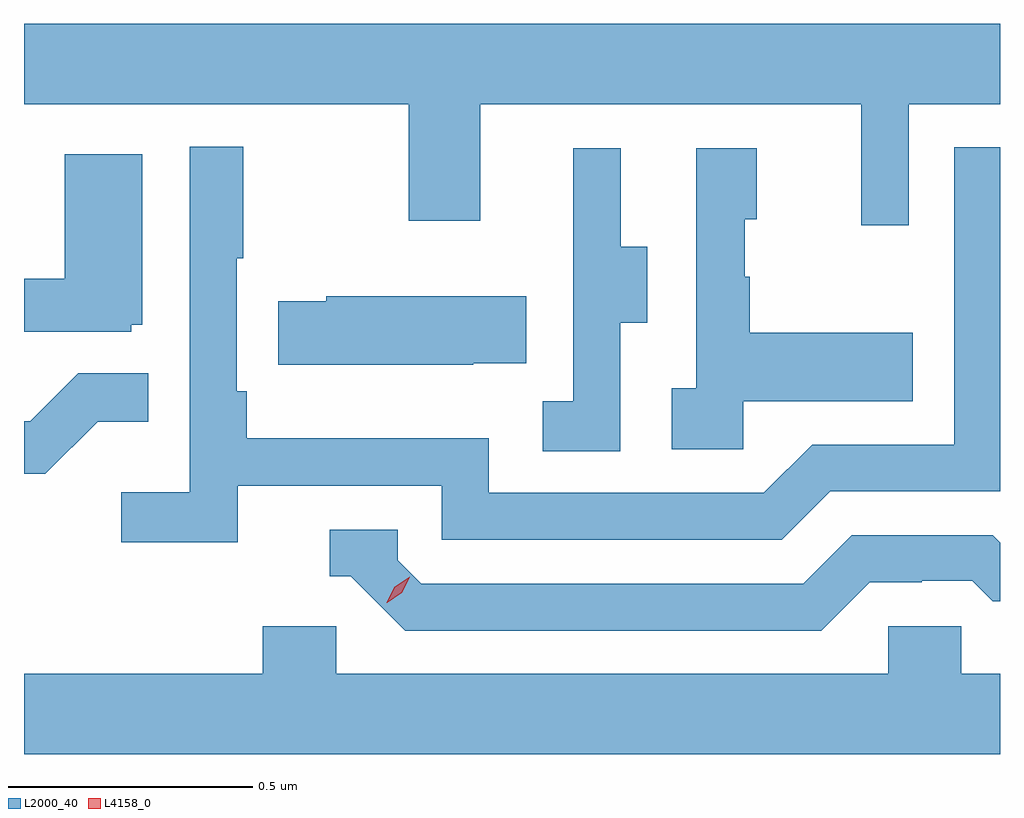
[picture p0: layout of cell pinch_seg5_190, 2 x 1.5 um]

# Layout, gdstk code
import gdstk
lib = gdstk.Library(unit=1e-6, precision=1e-09)
def P(c, l, *ps):  # polygons
    for p in ps: c.add(gdstk.Polygon(p, *l))
L2000_40 = (2000, 40)
L4158_0 = (4158, 0)

pinch_seg5_190 = lib.new_cell('pinch_seg5_190')
P(pinch_seg5_190, L2000_40, [(1117.677,888.728),(1117.864,888.728),(1117.864,888.892),(1115.864,888.892),(1115.864,888.728),(1116.652,888.728),(1116.652,888.489),(1116.799,888.489),(1116.799,888.728),(1117.58,888.728),(1117.58,888.48),(1117.677,888.48)],
  [(1116.302,887.946),(1116.72,887.946),(1116.72,887.835),(1117.417,887.835),(1117.516,887.934),(1117.864,887.934),(1117.864,888.639),(1117.77,888.639),(1117.77,888.03),(1117.479,888.03),(1117.38,887.931),(1116.816,887.931),(1116.816,888.043),(1116.32,888.043),(1116.32,888.139),(1116.3,888.139),(1116.3,888.412),(1116.313,888.412),(1116.313,888.64),(1116.204,888.64),(1116.204,887.932),(1116.063,887.932),(1116.063,887.83),(1116.302,887.83)],
  [(1117.086,888.28),(1117.141,888.28),(1117.141,888.435),(1117.087,888.435),(1117.087,888.637),(1116.989,888.637),(1116.989,888.423),(1116.99,888.423),(1116.99,888.119),(1116.927,888.119),(1116.927,888.016),(1117.086,888.016)],
  [(1117.338,888.119),(1117.685,888.119),(1117.685,888.259),(1117.351,888.259),(1117.351,888.374),(1117.341,888.374),(1117.341,888.492),(1117.366,888.492),(1117.366,888.637),(1117.242,888.637),(1117.242,888.146),(1117.191,888.146),(1117.191,888.021),(1117.338,888.021)],
  [(1116.084,888.276),(1116.106,888.276),(1116.106,888.625),(1115.948,888.625),(1115.948,888.37),(1115.864,888.37),(1115.864,888.261),(1116.084,888.261)],
  [(1116.785,888.197),(1116.893,888.197),(1116.893,888.334),(1116.483,888.334),(1116.483,888.324),(1116.385,888.324),(1116.385,888.194),(1116.785,888.194)],
  [(1116.015,888.077),(1116.119,888.077),(1116.119,888.176),(1115.975,888.176),(1115.877,888.078),(1115.864,888.078),(1115.864,887.97),(1115.908,887.97)],
  [(1117.597,887.748),(1117.704,887.748),(1117.704,887.751),(1117.807,887.751),(1117.849,887.709),(1117.864,887.709),(1117.864,887.829),(1117.849,887.844),(1117.56,887.844),(1117.461,887.745),(1116.678,887.745),(1116.63,887.793),(1116.63,887.856),(1116.491,887.856),(1116.491,887.76),(1116.534,887.76),(1116.645,887.649),(1117.498,887.649)],
  [(1117.864,887.56),(1117.785,887.56),(1117.785,887.658),(1117.635,887.658),(1117.635,887.56),(1116.504,887.56),(1116.504,887.658),(1116.353,887.658),(1116.353,887.56),(1115.864,887.56),(1115.864,887.396),(1117.864,887.396)])
P(pinch_seg5_190, L4158_0, [(1116.607,887.706),(1116.607,887.707),(1116.624,887.739),(1116.654,887.759),(1116.654,887.759),(1116.654,887.758),(1116.638,887.726),(1116.608,887.706)])

lib.write_gds('pinch_seg5_190.gds')
